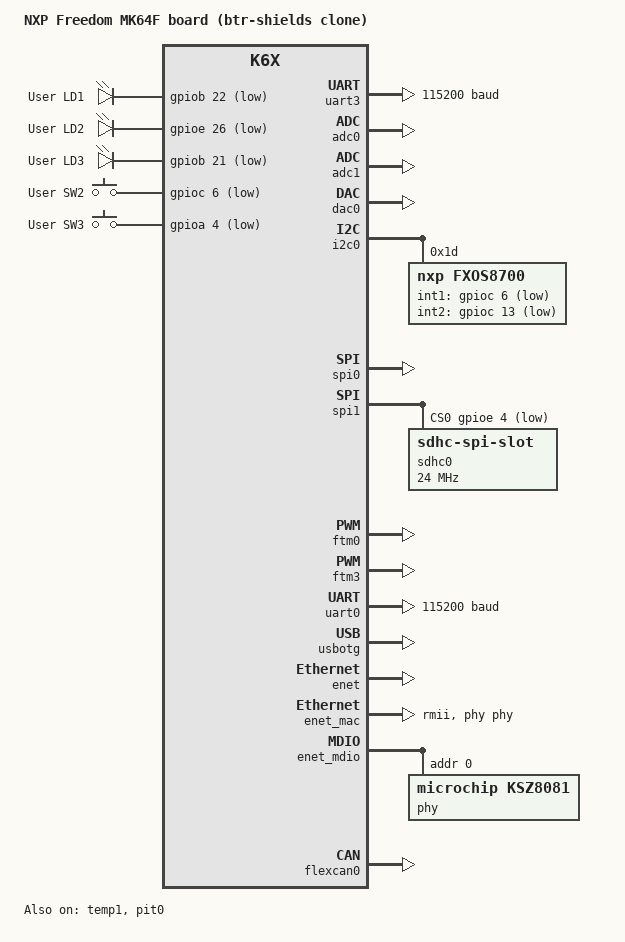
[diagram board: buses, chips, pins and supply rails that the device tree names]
/*
 * Copyright 2025 NXP
 * Copyright (c) 2025 ThoseBoards
 *
 * SPDX-License-Identifier: Apache-2.0
 *
 * btr-shields clone of boards/nxp/frdm_k64f (zephyr), adding a typed
 * "socket,arduino-r3" node (rigs Convention 4) via arduino_r3_socket.dtsi.
 * The redundant legacy `arduino_header` connector nexus was dropped (nothing
 * referenced it; the typed socket describes the connector). The arduino_i2c /
 * arduino_spi / arduino_serial blocks are KEPT — they are not connector
 * geometry but real bus config (status/pinctrl + the onboard fxos8700) the
 * board and rigs depend on; their legacy labels are harmless.
 */

/dts-v1/;

#include <nxp/kinetis/nxp_k6x.dtsi>
#include "frdm_k64f_btr-pinctrl.dtsi"
#include <zephyr/dt-bindings/gpio/arduino-header-r3.h>
#include <zephyr/dt-bindings/input/input-event-codes.h>
#include "arduino_r3_socket.dtsi"

/ {
	model = "NXP Freedom MK64F board (btr-shields clone)";
	compatible = "nxp,mk64f12-btr", "nxp,k64f", "nxp,k6x";

	aliases {
		led0 = &green_led;
		led1 = &blue_led;
		led2 = &red_led;
		sw0 = &user_button_3;
		sw1 = &user_button_2;
		magn0 = &fxos8700;
		accel0 = &fxos8700;
		mcuboot-button0 = &user_button_2;
	};

	chosen {
		zephyr,sram = &sram0;
		zephyr,flash = &flash0;
		zephyr,code-partition = &slot0_partition;
		zephyr,console = &uart0;
		zephyr,shell-uart = &uart0;
		zephyr,uart-pipe = &uart0;
		zephyr,canbus = &flexcan0;
		zephyr,uart-mcumgr = &uart0;
	};

	leds {
		compatible = "gpio-leds";

		red_led: led_0 {
			gpios = <&gpiob 22 GPIO_ACTIVE_LOW>;
			label = "User LD1";
		};

		green_led: led_1 {
			gpios = <&gpioe 26 GPIO_ACTIVE_LOW>;
			label = "User LD2";
		};

		blue_led: led_2 {
			gpios = <&gpiob 21 GPIO_ACTIVE_LOW>;
			label = "User LD3";
		};
	};

	gpio_keys {
		compatible = "gpio-keys";

		user_button_2: button_0 {
			label = "User SW2";
			gpios = <&gpioc 6 GPIO_ACTIVE_LOW>;
			zephyr,code = <INPUT_KEY_0>;
		};

		user_button_3: button_1 {
			label = "User SW3";
			gpios = <&gpioa 4 GPIO_ACTIVE_LOW>;
			zephyr,code = <INPUT_KEY_1>;
		};
	};
};

&sim {
	pllfll-select = <KINETIS_SIM_PLLFLLSEL_MCGPLLCLK>;
	er32k-select = <KINETIS_SIM_ER32KSEL_RTC>;
};

arduino_serial: &uart3 {
	status = "okay";
	current-speed = <115200>;
	pinctrl-0 = <&uart3_default>;
	pinctrl-names = "default";
};

&cpu0 {
	clock-frequency = <DT_FREQ_M(120)>;
};

&adc0 {
	status = "okay";
	pinctrl-0 = <&adc0_default>;
	pinctrl-names = "default";
};

&adc1 {
	status = "okay";
	pinctrl-0 = <&adc1_default>;
	pinctrl-names = "default";
};

&temp1 {
	status = "okay";
};

&dac0 {
	status = "okay";
	voltage-reference = <2>;
};

arduino_i2c: &i2c0 {
	status = "okay";
	pinctrl-0 = <&i2c0_default>;
	pinctrl-names = "default";

	fxos8700: fxos8700@1d {
		compatible = "nxp,fxos8700";
		reg = <0x1d>;
		int1-gpios = <&gpioc 6 GPIO_ACTIVE_LOW>;
		int2-gpios = <&gpioc 13 GPIO_ACTIVE_LOW>;
	};
};

arduino_spi: &spi0 {
	status = "okay";
	pinctrl-0 = <&spi0_default>;
	pinctrl-names = "default";
};

&spi1 {
	status = "okay";
	pinctrl-0 = <&spi1_default>;
	pinctrl-names = "default";
	cs-gpios = <&gpioe 4 GPIO_ACTIVE_LOW>;

	sdhc0: sdhc@0 {
		compatible = "zephyr,sdhc-spi-slot";
		reg = <0>;
		status = "okay";

		sdmmc {
			compatible = "zephyr,sdmmc-disk";
			disk-name = "SD";
			status = "okay";
		};

		spi-max-frequency = <DT_FREQ_M(24)>;
	};
};

&ftm0 {
	status = "okay";
	compatible = "nxp,ftm-pwm";
	#pwm-cells = <3>;
	pinctrl-0 = <&ftm0_default>;
	pinctrl-names = "default";
	clock-source = "fixed";
};

&ftm3 {
	status = "okay";
	compatible = "nxp,ftm-pwm";
	#pwm-cells = <3>;
	pinctrl-0 = <&ftm3_default>;
	pinctrl-names = "default";
	clock-source = "fixed";
};

&uart0 {
	status = "okay";
	current-speed = <115200>;
	pinctrl-0 = <&uart0_default>;
	pinctrl-names = "default";
};

&uart2 {
	pinctrl-0 = <&uart2_default>;
	pinctrl-names = "default";
};

zephyr_udc0: &usbotg {
	compatible = "nxp,kinetis-usbd";
	status = "okay";
	num-bidir-endpoints = <8>;
};

&gpioa {
	status = "okay";
};

&gpiob {
	status = "okay";
};

&gpioc {
	status = "okay";
};

&gpiod {
	status = "okay";
};

&gpioe {
	status = "okay";
};

&flash0 {
	partitions {
		compatible = "fixed-partitions";
		#address-cells = <1>;
		#size-cells = <1>;

		/*
		 * Partition sizes must be aligned
		 * to the flash memory sector size of 4KB.
		 */
		boot_partition: partition@0 {
			label = "mcuboot";
			reg = <0x00000000 DT_SIZE_K(64)>;
			read-only;
		};

		slot0_partition: partition@10000 {
			label = "image-0";
			reg = <0x00010000 DT_SIZE_K(420)>;
		};

		slot1_partition: partition@79000 {
			label = "image-1";
			reg = <0x00079000 DT_SIZE_K(420)>;
		};

		storage_partition: partition@e2000 {
			label = "storage";
			reg = <0x000e2000 DT_SIZE_K(120)>;
		};
	};
};

&enet {
	status = "okay";
	pinctrl-0 = <&pinmux_enet>;
	pinctrl-names = "default";
};

&enet_mac {
	status = "okay";
	phy-handle = <&phy>;
	zephyr,random-mac-address;
	phy-connection-type = "rmii";
};

&enet_mdio {
	status = "okay";
	pinctrl-0 = <&pinmux_enet_mdio>;
	pinctrl-names = "default";

	phy: phy@0 {
		compatible = "microchip,ksz8081";
		reg = <0>;
		status = "okay";
		microchip,interface-type = "rmii-25MHz";
	};
};

&enet_ptp_clock {
	status = "okay";
	pinctrl-0 = <&pinmux_ptp>;
	pinctrl-names = "default";
};

&flexcan0 {
	status = "okay";
	pinctrl-0 = <&flexcan0_default>;
	pinctrl-names = "default";
};

&edma0 {
	status = "okay";
};

&pit0 {
	status = "okay";
};
